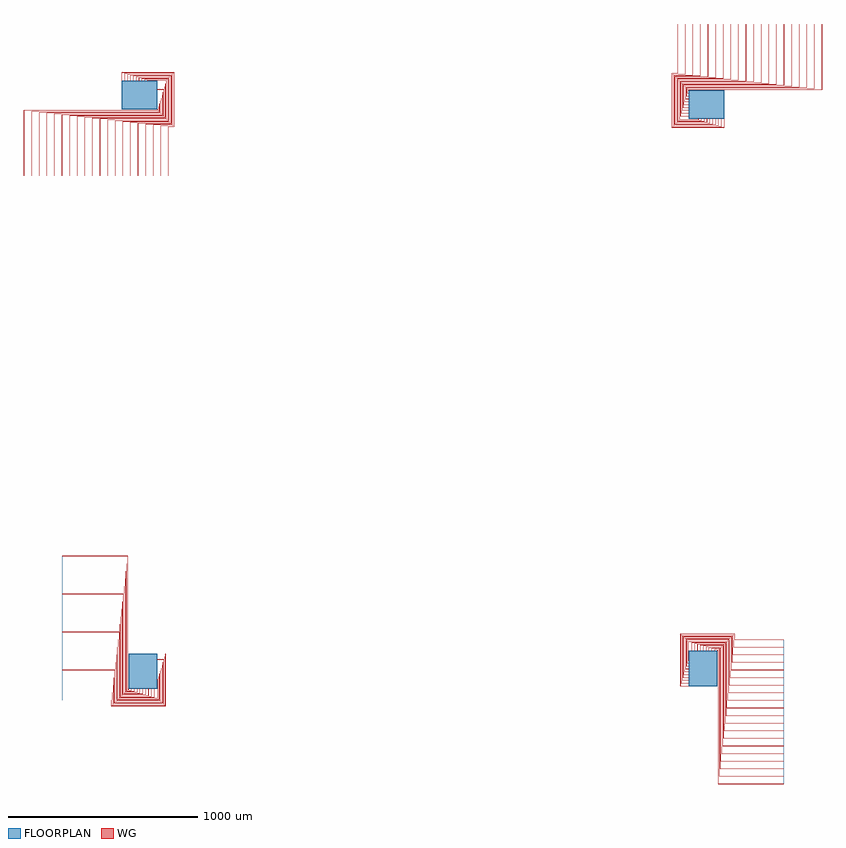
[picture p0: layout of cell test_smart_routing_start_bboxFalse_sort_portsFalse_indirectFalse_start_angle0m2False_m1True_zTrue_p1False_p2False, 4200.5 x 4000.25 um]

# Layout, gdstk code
import gdstk
lib = gdstk.Library(unit=1e-6, precision=1e-09)
def R(c, l, rs):  # rectangles x0, y0, x1, y1
    for r in rs: c.add(gdstk.rectangle(r[:2], r[2:], *l))
def P(c, l, *ps):  # polygons
    for p in ps: c.add(gdstk.Polygon(p, *l))
WG = (1, 0)
FLOORPLAN = (10, 0)

test_smart_routing_start = lib.new_cell('test_smart_routing_start_bboxFalse_sort_portsFalse_indirectFalse_start_angle0m2False_m1True_zTrue_p1False_p2False')
P(test_smart_routing_start, WG, [(-54.75,-104.5),(-54.75,599.75),(-400,599.75),(-400,600.25),(-54.25,600.25),(-54.25,-104),(-50.25,-104),(-50.25,-100),(-49.75,-100),(-49.75,-104.5)],
  [(-59.25,-109),(-59.25,559.75),(-400,559.75),(-400,560.25),(-58.75,560.25),(-58.75,-108.5),(-35.25,-108.5),(-35.25,-100),(-34.75,-100),(-34.75,-109)],
  [(-63.75,-113.5),(-63.75,519.75),(-400,519.75),(-400,520.25),(-63.25,520.25),(-63.25,-113),(-20.25,-113),(-20.25,-100),(-19.75,-100),(-19.75,-113.5)],
  [(-68.25,-118),(-68.25,479.75),(-400,479.75),(-400,480.25),(-67.75,480.25),(-67.75,-117.5),(-5.25,-117.5),(-5.25,-100),(-4.75,-100),(-4.75,-118)],
  [(-72.75,-122.5),(-72.75,439.75),(-400,439.75),(-400,440.25),(-72.25,440.25),(-72.25,-122),(9.75,-122),(9.75,-100),(10.25,-100),(10.25,-122.5)],
  [(-77.25,-127),(-77.25,399.75),(-400,399.75),(-400,400.25),(-76.75,400.25),(-76.75,-126.5),(24.75,-126.5),(24.75,-100),(25.25,-100),(25.25,-127)],
  [(-81.75,-131.5),(-81.75,359.75),(-400,359.75),(-400,360.25),(-81.25,360.25),(-81.25,-131),(39.75,-131),(39.75,-100),(40.25,-100),(40.25,-131.5)],
  [(-86.25,-136),(-86.25,319.75),(-400,319.75),(-400,320.25),(-85.75,320.25),(-85.75,-135.5),(54.75,-135.5),(54.75,-100),(55.25,-100),(55.25,-136)],
  [(-90.75,-140.5),(-90.75,279.75),(-400,279.75),(-400,280.25),(-90.25,280.25),(-90.25,-140),(69.75,-140),(69.75,-100),(70.25,-100),(70.25,-140.5)],
  [(-95.25,-145),(-95.25,239.75),(-400,239.75),(-400,240.25),(-94.75,240.25),(-94.75,-144.5),(84.75,-144.5),(84.75,-100),(85.25,-100),(85.25,-145)],
  [(-99.75,-149.5),(-99.75,199.75),(-400,199.75),(-400,200.25),(-99.25,200.25),(-99.25,-149),(104,-149),(104,-50.25),(100,-50.25),(100,-49.75),(104.5,-49.75),(104.5,-149.5)],
  [(-104.25,-154),(-104.25,159.75),(-400,159.75),(-400,160.25),(-103.75,160.25),(-103.75,-153.5),(108.5,-153.5),(108.5,-35.25),(100,-35.25),(100,-34.75),(109,-34.75),(109,-154)],
  [(-108.75,-158.5),(-108.75,119.75),(-400,119.75),(-400,120.25),(-108.25,120.25),(-108.25,-158),(113,-158),(113,-20.25),(100,-20.25),(100,-19.75),(113.5,-19.75),(113.5,-158.5)],
  [(-113.25,-163),(-113.25,79.75),(-400,79.75),(-400,80.25),(-112.75,80.25),(-112.75,-162.5),(117.5,-162.5),(117.5,-5.25),(100,-5.25),(100,-4.75),(118,-4.75),(118,-163)],
  [(-117.75,-167.5),(-117.75,39.75),(-400,39.75),(-400,40.25),(-117.25,40.25),(-117.25,-167),(122,-167),(122,9.75),(100,9.75),(100,10.25),(122.5,10.25),(122.5,-167.5)],
  [(-122.25,-172),(-122.25,-0.25),(-400,-0.25),(-400,0.25),(-121.75,0.25),(-121.75,-171.5),(126.5,-171.5),(126.5,24.75),(100,24.75),(100,25.25),(127,25.25),(127,-172)],
  [(-126.75,-176.5),(-126.75,-40.25),(-400,-40.25),(-400,-39.75),(-126.25,-39.75),(-126.25,-176),(131,-176),(131,39.75),(100,39.75),(100,40.25),(131.5,40.25),(131.5,-176.5)],
  [(-131.25,-181),(-131.25,-80.25),(-400,-80.25),(-400,-79.75),(-130.75,-79.75),(-130.75,-180.5),(135.5,-180.5),(135.5,54.75),(100,54.75),(100,55.25),(136,55.25),(136,-181)],
  [(-135.75,-185.5),(-135.75,-120.25),(-400,-120.25),(-400,-119.75),(-135.25,-119.75),(-135.25,-185),(140,-185),(140,69.75),(100,69.75),(100,70.25),(140.5,70.25),(140.5,-185.5)],
  [(-140.25,-190),(-140.25,-160.25),(-400,-160.25),(-400,-159.75),(-139.75,-159.75),(-139.75,-189.5),(144.5,-189.5),(144.5,84.75),(100,84.75),(100,85.25),(145,85.25),(145,-190)],
  [(-600.25,2600),(-600.25,2945.75),(104,2945.75),(104,2949.75),(100,2949.75),(100,2950.25),(104.5,2950.25),(104.5,2945.25),(-599.75,2945.25),(-599.75,2600)],
  [(-560.25,2600),(-560.25,2941.25),(108.5,2941.25),(108.5,2964.75),(100,2964.75),(100,2965.25),(109,2965.25),(109,2940.75),(-559.75,2940.75),(-559.75,2600)],
  [(-520.25,2600),(-520.25,2936.75),(113,2936.75),(113,2979.75),(100,2979.75),(100,2980.25),(113.5,2980.25),(113.5,2936.25),(-519.75,2936.25),(-519.75,2600)],
  [(-480.25,2600),(-480.25,2932.25),(117.5,2932.25),(117.5,2994.75),(100,2994.75),(100,2995.25),(118,2995.25),(118,2931.75),(-479.75,2931.75),(-479.75,2600)],
  [(-440.25,2600),(-440.25,2927.75),(122,2927.75),(122,3009.75),(100,3009.75),(100,3010.25),(122.5,3010.25),(122.5,2927.25),(-439.75,2927.25),(-439.75,2600)],
  [(-400.25,2600),(-400.25,2923.25),(126.5,2923.25),(126.5,3024.75),(100,3024.75),(100,3025.25),(127,3025.25),(127,2922.75),(-399.75,2922.75),(-399.75,2600)],
  [(-360.25,2600),(-360.25,2918.75),(131,2918.75),(131,3039.75),(100,3039.75),(100,3040.25),(131.5,3040.25),(131.5,2918.25),(-359.75,2918.25),(-359.75,2600)],
  [(-320.25,2600),(-320.25,2914.25),(135.5,2914.25),(135.5,3054.75),(100,3054.75),(100,3055.25),(136,3055.25),(136,2913.75),(-319.75,2913.75),(-319.75,2600)],
  [(-280.25,2600),(-280.25,2909.75),(140,2909.75),(140,3069.75),(100,3069.75),(100,3070.25),(140.5,3070.25),(140.5,2909.25),(-279.75,2909.25),(-279.75,2600)],
  [(-240.25,2600),(-240.25,2905.25),(144.5,2905.25),(144.5,3084.75),(100,3084.75),(100,3085.25),(145,3085.25),(145,2904.75),(-239.75,2904.75),(-239.75,2600)],
  [(-200.25,2600),(-200.25,2900.75),(149,2900.75),(149,3104),(50.25,3104),(50.25,3100),(49.75,3100),(49.75,3104.5),(149.5,3104.5),(149.5,2900.25),(-199.75,2900.25),(-199.75,2600)],
  [(-160.25,2600),(-160.25,2896.25),(153.5,2896.25),(153.5,3108.5),(35.25,3108.5),(35.25,3100),(34.75,3100),(34.75,3109),(154,3109),(154,2895.75),(-159.75,2895.75),(-159.75,2600)],
  [(-120.25,2600),(-120.25,2891.75),(158,2891.75),(158,3113),(20.25,3113),(20.25,3100),(19.75,3100),(19.75,3113.5),(158.5,3113.5),(158.5,2891.25),(-119.75,2891.25),(-119.75,2600)],
  [(-80.25,2600),(-80.25,2887.25),(162.5,2887.25),(162.5,3117.5),(5.25,3117.5),(5.25,3100),(4.75,3100),(4.75,3118),(163,3118),(163,2886.75),(-79.75,2886.75),(-79.75,2600)],
  [(-40.25,2600),(-40.25,2882.75),(167,2882.75),(167,3122),(-9.75,3122),(-9.75,3100),(-10.25,3100),(-10.25,3122.5),(167.5,3122.5),(167.5,2882.25),(-39.75,2882.25),(-39.75,2600)],
  [(-0.25,2600),(-0.25,2878.25),(171.5,2878.25),(171.5,3126.5),(-24.75,3126.5),(-24.75,3100),(-25.25,3100),(-25.25,3127),(172,3127),(172,2877.75),(0.25,2877.75),(0.25,2600)],
  [(39.75,2600),(39.75,2873.75),(176,2873.75),(176,3131),(-39.75,3131),(-39.75,3100),(-40.25,3100),(-40.25,3131.5),(176.5,3131.5),(176.5,2873.25),(40.25,2873.25),(40.25,2600)],
  [(79.75,2600),(79.75,2869.25),(180.5,2869.25),(180.5,3135.5),(-54.75,3135.5),(-54.75,3100),(-55.25,3100),(-55.25,3136),(181,3136),(181,2868.75),(80.25,2868.75),(80.25,2600)],
  [(119.75,2600),(119.75,2864.75),(185,2864.75),(185,3140),(-69.75,3140),(-69.75,3100),(-70.25,3100),(-70.25,3140.5),(185.5,3140.5),(185.5,2864.25),(120.25,2864.25),(120.25,2600)],
  [(159.75,2600),(159.75,2860.25),(189.5,2860.25),(189.5,3144.5),(-84.75,3144.5),(-84.75,3100),(-85.25,3100),(-85.25,3145),(190,3145),(190,2859.75),(160.25,2859.75),(160.25,2600)],
  [(3054.25,-600.25),(3054.25,104),(3050.25,104),(3050.25,100),(3049.75,100),(3049.75,104.5),(3054.75,104.5),(3054.75,-599.75),(3400,-599.75),(3400,-600.25)],
  [(3058.75,-560.25),(3058.75,108.5),(3035.25,108.5),(3035.25,100),(3034.75,100),(3034.75,109),(3059.25,109),(3059.25,-559.75),(3400,-559.75),(3400,-560.25)],
  [(3063.25,-520.25),(3063.25,113),(3020.25,113),(3020.25,100),(3019.75,100),(3019.75,113.5),(3063.75,113.5),(3063.75,-519.75),(3400,-519.75),(3400,-520.25)],
  [(3067.75,-480.25),(3067.75,117.5),(3005.25,117.5),(3005.25,100),(3004.75,100),(3004.75,118),(3068.25,118),(3068.25,-479.75),(3400,-479.75),(3400,-480.25)],
  [(3072.25,-440.25),(3072.25,122),(2990.25,122),(2990.25,100),(2989.75,100),(2989.75,122.5),(3072.75,122.5),(3072.75,-439.75),(3400,-439.75),(3400,-440.25)],
  [(3076.75,-400.25),(3076.75,126.5),(2975.25,126.5),(2975.25,100),(2974.75,100),(2974.75,127),(3077.25,127),(3077.25,-399.75),(3400,-399.75),(3400,-400.25)],
  [(3081.25,-360.25),(3081.25,131),(2960.25,131),(2960.25,100),(2959.75,100),(2959.75,131.5),(3081.75,131.5),(3081.75,-359.75),(3400,-359.75),(3400,-360.25)],
  [(3085.75,-320.25),(3085.75,135.5),(2945.25,135.5),(2945.25,100),(2944.75,100),(2944.75,136),(3086.25,136),(3086.25,-319.75),(3400,-319.75),(3400,-320.25)],
  [(3090.25,-280.25),(3090.25,140),(2930.25,140),(2930.25,100),(2929.75,100),(2929.75,140.5),(3090.75,140.5),(3090.75,-279.75),(3400,-279.75),(3400,-280.25)],
  [(3094.75,-240.25),(3094.75,144.5),(2915.25,144.5),(2915.25,100),(2914.75,100),(2914.75,145),(3095.25,145),(3095.25,-239.75),(3400,-239.75),(3400,-240.25)],
  [(3099.25,-200.25),(3099.25,149),(2896,149),(2896,50.25),(2900,50.25),(2900,49.75),(2895.5,49.75),(2895.5,149.5),(3099.75,149.5),(3099.75,-199.75),(3400,-199.75),(3400,-200.25)],
  [(3103.75,-160.25),(3103.75,153.5),(2891.5,153.5),(2891.5,35.25),(2900,35.25),(2900,34.75),(2891,34.75),(2891,154),(3104.25,154),(3104.25,-159.75),(3400,-159.75),(3400,-160.25)],
  [(3108.25,-120.25),(3108.25,158),(2887,158),(2887,20.25),(2900,20.25),(2900,19.75),(2886.5,19.75),(2886.5,158.5),(3108.75,158.5),(3108.75,-119.75),(3400,-119.75),(3400,-120.25)],
  [(3112.75,-80.25),(3112.75,162.5),(2882.5,162.5),(2882.5,5.25),(2900,5.25),(2900,4.75),(2882,4.75),(2882,163),(3113.25,163),(3113.25,-79.75),(3400,-79.75),(3400,-80.25)],
  [(3117.25,-40.25),(3117.25,167),(2878,167),(2878,-9.75),(2900,-9.75),(2900,-10.25),(2877.5,-10.25),(2877.5,167.5),(3117.75,167.5),(3117.75,-39.75),(3400,-39.75),(3400,-40.25)],
  [(2873,-25.25),(2873,172),(3122.25,172),(3122.25,0.25),(3400,0.25),(3400,-0.25),(3121.75,-0.25),(3121.75,171.5),(2873.5,171.5),(2873.5,-24.75),(2900,-24.75),(2900,-25.25)],
  [(2868.5,-40.25),(2868.5,176.5),(3126.75,176.5),(3126.75,40.25),(3400,40.25),(3400,39.75),(3126.25,39.75),(3126.25,176),(2869,176),(2869,-39.75),(2900,-39.75),(2900,-40.25)],
  [(2864,-55.25),(2864,181),(3131.25,181),(3131.25,80.25),(3400,80.25),(3400,79.75),(3130.75,79.75),(3130.75,180.5),(2864.5,180.5),(2864.5,-54.75),(2900,-54.75),(2900,-55.25)],
  [(2859.5,-70.25),(2859.5,185.5),(3135.75,185.5),(3135.75,120.25),(3400,120.25),(3400,119.75),(3135.25,119.75),(3135.25,185),(2860,185),(2860,-69.75),(2900,-69.75),(2900,-70.25)],
  [(2855,-85.25),(2855,190),(3140.25,190),(3140.25,160.25),(3400,160.25),(3400,159.75),(3139.75,159.75),(3139.75,189.5),(2855.5,189.5),(2855.5,-84.75),(2900,-84.75),(2900,-85.25)],
  [(2895.5,3049.75),(2895.5,3054.75),(3599.75,3054.75),(3599.75,3400),(3600.25,3400),(3600.25,3054.25),(2896,3054.25),(2896,3050.25),(2900,3050.25),(2900,3049.75)],
  [(2891,3034.75),(2891,3059.25),(3559.75,3059.25),(3559.75,3400),(3560.25,3400),(3560.25,3058.75),(2891.5,3058.75),(2891.5,3035.25),(2900,3035.25),(2900,3034.75)],
  [(2886.5,3019.75),(2886.5,3063.75),(3519.75,3063.75),(3519.75,3400),(3520.25,3400),(3520.25,3063.25),(2887,3063.25),(2887,3020.25),(2900,3020.25),(2900,3019.75)],
  [(2882,3004.75),(2882,3068.25),(3479.75,3068.25),(3479.75,3400),(3480.25,3400),(3480.25,3067.75),(2882.5,3067.75),(2882.5,3005.25),(2900,3005.25),(2900,3004.75)],
  [(2877.5,2989.75),(2877.5,3072.75),(3439.75,3072.75),(3439.75,3400),(3440.25,3400),(3440.25,3072.25),(2878,3072.25),(2878,2990.25),(2900,2990.25),(2900,2989.75)],
  [(2873,2974.75),(2873,3077.25),(3399.75,3077.25),(3399.75,3400),(3400.25,3400),(3400.25,3076.75),(2873.5,3076.75),(2873.5,2975.25),(2900,2975.25),(2900,2974.75)],
  [(2868.5,2959.75),(2868.5,3081.75),(3359.75,3081.75),(3359.75,3400),(3360.25,3400),(3360.25,3081.25),(2869,3081.25),(2869,2960.25),(2900,2960.25),(2900,2959.75)],
  [(2864,2944.75),(2864,3086.25),(3319.75,3086.25),(3319.75,3400),(3320.25,3400),(3320.25,3085.75),(2864.5,3085.75),(2864.5,2945.25),(2900,2945.25),(2900,2944.75)],
  [(2859.5,2929.75),(2859.5,3090.75),(3279.75,3090.75),(3279.75,3400),(3280.25,3400),(3280.25,3090.25),(2860,3090.25),(2860,2930.25),(2900,2930.25),(2900,2929.75)],
  [(2855,2914.75),(2855,3095.25),(3239.75,3095.25),(3239.75,3400),(3240.25,3400),(3240.25,3094.75),(2855.5,3094.75),(2855.5,2915.25),(2900,2915.25),(2900,2914.75)],
  [(2850.5,2895.5),(2850.5,3099.75),(3199.75,3099.75),(3199.75,3400),(3200.25,3400),(3200.25,3099.25),(2851,3099.25),(2851,2896),(2949.75,2896),(2949.75,2900),(2950.25,2900),(2950.25,2895.5)],
  [(2846,2891),(2846,3104.25),(3159.75,3104.25),(3159.75,3400),(3160.25,3400),(3160.25,3103.75),(2846.5,3103.75),(2846.5,2891.5),(2964.75,2891.5),(2964.75,2900),(2965.25,2900),(2965.25,2891)],
  [(2841.5,2886.5),(2841.5,3108.75),(3119.75,3108.75),(3119.75,3400),(3120.25,3400),(3120.25,3108.25),(2842,3108.25),(2842,2887),(2979.75,2887),(2979.75,2900),(2980.25,2900),(2980.25,2886.5)],
  [(2837,2882),(2837,3113.25),(3079.75,3113.25),(3079.75,3400),(3080.25,3400),(3080.25,3112.75),(2837.5,3112.75),(2837.5,2882.5),(2994.75,2882.5),(2994.75,2900),(2995.25,2900),(2995.25,2882)],
  [(2832.5,2877.5),(2832.5,3117.75),(3039.75,3117.75),(3039.75,3400),(3040.25,3400),(3040.25,3117.25),(2833,3117.25),(2833,2878),(3009.75,2878),(3009.75,2900),(3010.25,2900),(3010.25,2877.5)],
  [(2828,2873),(2828,3122.25),(2999.75,3122.25),(2999.75,3400),(3000.25,3400),(3000.25,3121.75),(2828.5,3121.75),(2828.5,2873.5),(3024.75,2873.5),(3024.75,2900),(3025.25,2900),(3025.25,2873)],
  [(2823.5,2868.5),(2823.5,3126.75),(2959.75,3126.75),(2959.75,3400),(2960.25,3400),(2960.25,3126.25),(2824,3126.25),(2824,2869),(3039.75,2869),(3039.75,2900),(3040.25,2900),(3040.25,2868.5)],
  [(2819,2864),(2819,3131.25),(2919.75,3131.25),(2919.75,3400),(2920.25,3400),(2920.25,3130.75),(2819.5,3130.75),(2819.5,2864.5),(3054.75,2864.5),(3054.75,2900),(3055.25,2900),(3055.25,2864)],
  [(2814.5,2859.5),(2814.5,3135.75),(2879.75,3135.75),(2879.75,3400),(2880.25,3400),(2880.25,3135.25),(2815,3135.25),(2815,2860),(3069.75,2860),(3069.75,2900),(3070.25,2900),(3070.25,2859.5)],
  [(2810,2855),(2810,3140.25),(2839.75,3140.25),(2839.75,3400),(2840.25,3400),(2840.25,3139.75),(2810.5,3139.75),(2810.5,2855.5),(3084.75,2855.5),(3084.75,2900),(3085.25,2900),(3085.25,2855)])
R(test_smart_routing_start, FLOORPLAN, [(-50,-100,100,85), (2900,-85,3050,100), (2900,2900,3085,3050), (-85,2950,100,3100)])
P(test_smart_routing_start, FLOORPLAN, [(-400,-160),(-400,600),(-400,600),(-400,-160)],
  [(-600,2600),(-600,2600),(160,2600),(160,2600)],
  [(3400,-600),(3400,160),(3400,160),(3400,-600)],
  [(2840,3400),(2840,3400),(3600,3400),(3600,3400)])

lib.write_gds('test_smart_routing_start_bboxFalse_sort_portsFalse_indirectFalse_start_angle0m2False_m1True_zTrue_p1False_p2False.gds')
